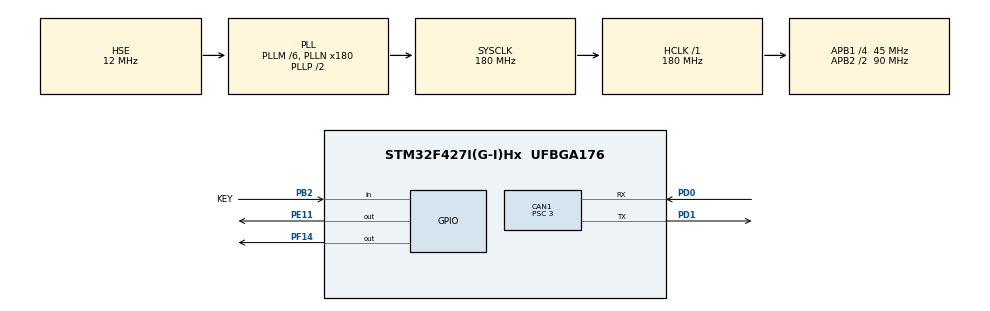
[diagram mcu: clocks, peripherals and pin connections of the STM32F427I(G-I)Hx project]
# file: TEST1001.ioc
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CAN1.BS1=CAN_BS1_10TQ
CAN1.BS2=CAN_BS2_4TQ
CAN1.CalculateBaudRate=1000000
CAN1.CalculateTimeBit=1000
CAN1.CalculateTimeQuantum=66.66666666666666
CAN1.Prescaler=3
CAN1.SJW=CAN_SJW_1TQ
Mcu.Family=STM32F4
Mcu.Name=STM32F427I(G-I)Hx
Mcu.Package=UFBGA176
NVIC.CAN1_RX0_IRQn=true\:0\:0\:false\:false\:true\:true\:true\:true
NVIC.CAN1_RX1_IRQn=true\:0\:0\:false\:false\:true\:true\:true\:true
NVIC.CAN1_TX_IRQn=true\:0\:0\:false\:false\:true\:true\:true\:true
NVIC.PriorityGroup=NVIC_PRIORITYGROUP_4
NVIC.TIM6_DAC_IRQn=true\:0\:0\:false\:false\:true\:true\:true\:true
PA13.Mode=Serial_Wire
PA13.Signal=SYS_JTMS-SWDIO
PA14.Mode=Serial_Wire
PA14.Signal=SYS_JTCK-SWCLK
PB2/BOOT1.GPIO_Label=KEY
PB2/BOOT1.GPIO_PuPd=GPIO_PULLDOWN
PB2/BOOT1.Signal=GPIO_Input
PD0.Mode=CAN_Activate
PD0.Signal=CAN1_RX
PD1.Mode=CAN_Activate
PD1.Signal=CAN1_TX
PE11.Signal=GPIO_Output
PE7.Signal=UART7_RX
PE8.Signal=UART7_TX
PF14.Signal=GPIO_Output
PH0/OSC_IN.Mode=HSE-External-Oscillator
PH0/OSC_IN.Signal=RCC_OSC_IN
PH1/OSC_OUT.Mode=HSE-External-Oscillator
PH1/OSC_OUT.Signal=RCC_OSC_OUT
ProjectManager.HeapSize=0x200
ProjectManager.StackSize=0x400
ProjectManager.TargetToolchain=MDK-ARM V5.32
RCC.48MHZClocksFreq_Value=90000000
RCC.AHBFreq_Value=180000000
RCC.APB1CLKDivider=RCC_HCLK_DIV4
RCC.APB1Freq_Value=45000000
RCC.APB1TimFreq_Value=90000000
RCC.APB2CLKDivider=RCC_HCLK_DIV2
RCC.APB2Freq_Value=90000000
RCC.APB2TimFreq_Value=180000000
RCC.CortexFreq_Value=180000000
RCC.HCLKFreq_Value=180000000
RCC.HSE_VALUE=12000000
RCC.HSI_VALUE=16000000
RCC.LSE_VALUE=32768
RCC.PLLM=6
RCC.PLLN=180
RCC.PLLSourceVirtual=RCC_PLLSOURCE_HSE
RCC.SYSCLKFreq_VALUE=180000000
RCC.SYSCLKSource=RCC_SYSCLKSOURCE_PLLCLK
RCC.VCOOutputFreq_Value=360000000
TIM6.Period=1000-1
TIM6.Prescaler=180-1
VP_TIM6_VS_ClockSourceINT.Mode=Enable_Timer
board=custom

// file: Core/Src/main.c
/* USER CODE BEGIN Header */
/**
  ******************************************************************************
  * @file           : main.c
  * @brief          : Main program body
  ******************************************************************************
  * @attention
  *
  * Copyright (c) 2025 STMicroelectronics.
  * All rights reserved.
  *
  * This software is licensed under terms that can be found in the LICENSE file
  * in the root directory of this software component.
  * If no LICENSE file comes with this software, it is provided AS-IS.
  *
  ******************************************************************************
  */
/* USER CODE END Header */
#include "main.h"
#include "can.h"
#include "tim.h"
#include "gpio.h"

/* USER CODE BEGIN PV */
//按键
uint8_t stop_flag = 1;
uint8_t angle_flag = 0;
uint8_t key_state = 0;
uint32_t key_press_time = 0;

uint8_t tx_data[8] = {0x00, 0x00, 0x00, 0x00, 0x00, 0x00, 0x00, 0x00};
uint8_t rx_data[8];
uint32_t can_tx_mail_box_;
CAN_RxHeaderTypeDef rx_header;
CAN_TxHeaderTypeDef tx_header = {
    .StdId = 0x200,
    .ExtId = 0,
    .IDE = CAN_ID_STD,
    .RTR = CAN_RTR_DATA,
    .DLC = 8,
    .TransmitGlobalTime = DISABLE,
};

CAN_FilterTypeDef filter_config = {
    .FilterIdHigh = 0x0000,
    .FilterIdLow = 0x0000,
    .FilterMaskIdHigh = 0x0000,
    .FilterMaskIdLow = 0x0000,
    .FilterFIFOAssignment = CAN_FILTER_FIFO0,
    .FilterBank = 0,
    .FilterMode = CAN_FILTERMODE_IDMASK,
    .FilterScale = CAN_FILTERSCALE_32BIT,
    .FilterActivation = ENABLE,
};

/* USER CODE END PV */

void SystemClock_Config(void);

int main(void)
{

    /* MCU Configuration--------------------------------------------------------*/

    /* Reset of all peripherals, Initializes the Flash interface and the Systick. */
    HAL_Init();

    /* Configure the system clock */
    SystemClock_Config();

    /* Initialize all configured peripherals */
    MX_GPIO_Init();
    MX_CAN1_Init();
    MX_TIM6_Init();
    /* USER CODE BEGIN 2 */
    HAL_CAN_ConfigFilter(&hcan1, &filter_config);
    HAL_CAN_Start(&hcan1);
    HAL_CAN_ActivateNotification(&hcan1, CAN_IT_RX_FIFO0_MSG_PENDING);
    HAL_TIM_Base_Start_IT(&htim6);
    HAL_GPIO_WritePin(GPIOE, GPIO_PIN_11, GPIO_PIN_RESET);
    HAL_GPIO_WritePin(GPIOF, GPIO_PIN_14, GPIO_PIN_SET);
    /* USER CODE END 2 */

    /* Infinite loop */
    /* USER CODE BEGIN WHILE */

    while (1)
    {
        if (HAL_GPIO_ReadPin(GPIOB, GPIO_PIN_2) == GPIO_PIN_SET)
        {
            key_press_time++;
            if (key_press_time > 50 && key_state == 0)
            {
                stop_flag = !stop_flag;
                key_state = 1;
                HAL_GPIO_WritePin(GPIOF, GPIO_PIN_14, stop_flag);
            }
        }
        else
        {
            key_state = 0;
            key_press_time = 0;
        }
    }
    /* USER CODE END WHILE */

}

void SystemClock_Config(void)
{
    RCC_OscInitTypeDef RCC_OscInitStruct = {0};
    RCC_ClkInitTypeDef RCC_ClkInitStruct = {0};

    /** Configure the main internal regulator output voltage
    */
    __HAL_RCC_PWR_CLK_ENABLE();
    __HAL_PWR_VOLTAGESCALING_CONFIG(PWR_REGULATOR_VOLTAGE_SCALE1);

    /** Initializes the RCC Oscillators according to the specified parameters
    * in the RCC_OscInitTypeDef structure.
    */
    RCC_OscInitStruct.OscillatorType = RCC_OSCILLATORTYPE_HSE;
    RCC_OscInitStruct.HSEState = RCC_HSE_ON;
    RCC_OscInitStruct.PLL.PLLState = RCC_PLL_ON;
    RCC_OscInitStruct.PLL.PLLSource = RCC_PLLSOURCE_HSE;
    RCC_OscInitStruct.PLL.PLLM = 6;
    RCC_OscInitStruct.PLL.PLLN = 180;
    RCC_OscInitStruct.PLL.PLLP = RCC_PLLP_DIV2;
    RCC_OscInitStruct.PLL.PLLQ = 4;
    if (HAL_RCC_OscConfig(&RCC_OscInitStruct) != HAL_OK)
    {
        Error_Handler();
    }

    /** Activate the Over-Drive mode
    */
    if (HAL_PWREx_EnableOverDrive() != HAL_OK)
    {
        Error_Handler();
    }

    /** Initializes the CPU, AHB and APB buses clocks
    */
    RCC_ClkInitStruct.ClockType = RCC_CLOCKTYPE_HCLK | RCC_CLOCKTYPE_SYSCLK
        | RCC_CLOCKTYPE_PCLK1 | RCC_CLOCKTYPE_PCLK2;
    RCC_ClkInitStruct.SYSCLKSource = RCC_SYSCLKSOURCE_PLLCLK;
    RCC_ClkInitStruct.AHBCLKDivider = RCC_SYSCLK_DIV1;
    RCC_ClkInitStruct.APB1CLKDivider = RCC_HCLK_DIV4;
    RCC_ClkInitStruct.APB2CLKDivider = RCC_HCLK_DIV2;

    if (HAL_RCC_ClockConfig(&RCC_ClkInitStruct, FLASH_LATENCY_5) != HAL_OK)
    {
        Error_Handler();
    }
}

void Error_Handler(void)
{
    __disable_irq();
    while (1)
    {
    }
}
